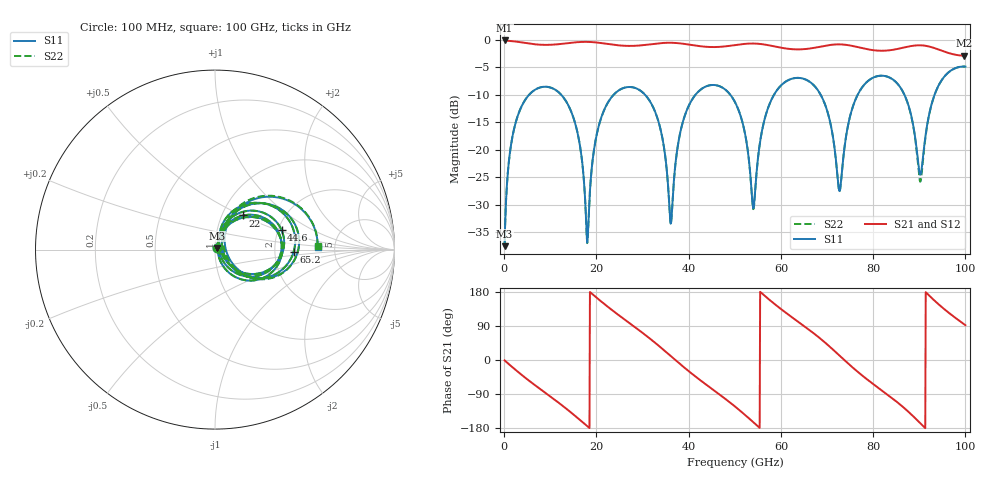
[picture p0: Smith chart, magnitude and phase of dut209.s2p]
! Touchstone file exported from HFSS 2026.1.0
!  File:  C:/ffzhzh/LocalFiles/Ansys_Project_Files/temp_train_TSV_RDL_209_1783660242_29156.aedt
!  Generated:  01:21:04 PM Jul 10, 2026
!  Design:  TSV_RDL
!  Project:  temp_train_TSV_RDL_209_1783660242_29156
! Variables:
!  h_bsmrdl = 4.93um
!  h_ox = 20um
!  h_rdl = 5um
!  h_sub = 70.83um
!  h_tmrdl = 4.45um
!  h_tsv = 70.83um
!  h_via = 3um
!  l_bsmrdl = 205.61um
!  l_sub = 3245.25um
!  l_tmrdl = 524.03um
!  m_sub = 200um
!  pitch = 47.68um
!  r_tsv = 13.48um
!  s_tmrdl = 10um
!  w_bsmrdl = 15.77um
!  w_sub = 500um
!  w_tmrdl = 28.33um
!  x_tsv_center1 = 538.195um
!  x_tsv_center2 = 759.575um
!  x_tsv_center3 = 1311.935um
!  x_tsv_center4 = 1533.315um
!  x_tsv_center5 = 2085.675um
!  x_tsv_center6 = 2307.055um
# GHz S MA R 50.000000
! Terminal data exported
! Port[1] = TM_RDL1_1_T1
! Port[2] = TM_RDL5_1_T1
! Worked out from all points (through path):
!   1000 points, 100 MHz to 100 GHz, reference 50 ohm
!   highest |S21| = -0.09 dB at 100 MHz (marker M1); lowest = -2.8 dB at 99.7 GHz (marker M2)
!   group delay of S21, straight-line fit = 27.3 ps
!   lowest |S11| = -37.6 dB at 100 MHz (marker M3), VSWR 1.03, Z = 51 + j0.855 ohm
!   |S11| at or under -10 dB: 12.38 GHz to 23.72 GHz (11.34 GHz wide, 62.8 % of centre); 30.57 GHz to 41.47 GHz (10.9 GHz wide, 30.3 % of centre); 49.05 GHz to 58.5 GHz (9.454 GHz wide, 17.6 % of centre) (the widest 3 of 6)
!   |S22| runs from -37.6 to -4.8 dB; largest |S21 - S12| = 3e-14
!   S11 on the Smith chart (normalised r, x): 100 MHz: 1.02, +0.02; 22 GHz: 1.26, +0.51; 44.6 GHz: 2.09, +0.53; 65.2 GHz: 2.56, -0.07; 100 GHz: 3.66, +0.13
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0.1  0.0132 39.4  0.9899 -1.1  0.9899 -1.1  0.0132 39.4
! Gamma 0 0 0 0
! Port Impedance 50 0 50 0
2  0.1449 62.7  0.974 -21.2  0.974 -21.2  0.1449 62.7
6  0.3348 26.4  0.9196 -60.2  0.9196 -60.2  0.3348 26.4
16.8  0.08499 -64.8  0.9598 -161.9  0.9598 -161.9  0.085 -64.9
18.1  0.01509 22.7  0.9607 -175.4  0.9607 -175.4  0.01488 22.7
22  0.2459 50.6  0.9252 145.0  0.9252 145.0  0.2458 50.6
33.4  0.1839 -47.2  0.931 38.7  0.931 38.7  0.1839 -47.2
36.2  0.0216 21.2  0.9431 9.6  0.9431 9.6  0.02155 21.2
39  0.1946 63.8  0.9216 -19.4  0.9216 -19.4  0.1945 63.7
44.6  0.3866 16.3  0.8629 -72.2  0.8629 -72.2  0.3865 16.3
50.1  0.2688 -30.0  0.8989 -123.2  0.8989 -123.2  0.2687 -30.1
54  0.0292 9.7  0.9283 -163.9  0.9283 -163.9  0.02871 9.5
57.8  0.2767 60.0  0.8876 156.0  0.8876 156.0  0.2766 60.0
65.2  0.4389 -1.4  0.8259 88.1  0.8259 88.1  0.4387 -1.5
66.7  0.402 -13.8  0.8411 74.3  0.8411 74.3  0.4018 -13.9
72.7  0.0419 9.9  0.9118 11.8  0.9118 11.8  0.04164 9.9
76.5  0.3076 53.5  0.864 -29.6  0.864 -29.6  0.3076 53.3
83.4  0.4579 -3.0  0.8042 -94.0  0.8042 -94.0  0.4575 -3.5
90.2  0.05904 9.2  0.8943 -166.5  0.8943 -166.5  0.05103 8.9
93.6  0.3403 53.7  0.8351 153.4  0.8351 153.4  0.3391 55.2
99.7  0.5727 3.6  0.7205 94.5  0.7205 94.5  0.5726 4.5
100  0.5716 1.2  0.7209 91.8  0.7209 91.8  0.5716 2.1
